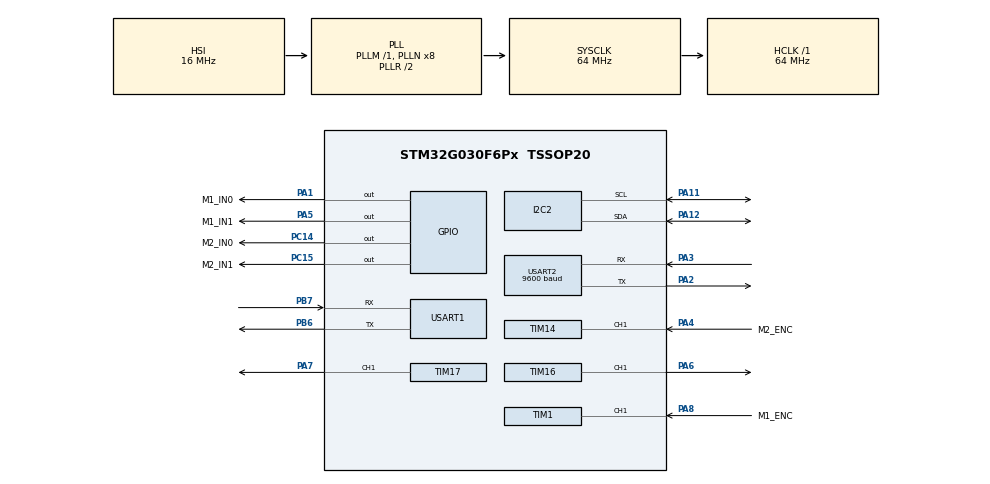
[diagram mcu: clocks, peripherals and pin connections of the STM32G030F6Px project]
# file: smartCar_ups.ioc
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Dma.Request0=USART1_RX
Dma.USART1_RX.0.Direction=DMA_PERIPH_TO_MEMORY
Dma.USART1_RX.0.EventEnable=DISABLE
Dma.USART1_RX.0.Instance=DMA1_Channel1
Dma.USART1_RX.0.MemDataAlignment=DMA_MDATAALIGN_BYTE
Dma.USART1_RX.0.MemInc=DMA_MINC_ENABLE
Dma.USART1_RX.0.Mode=DMA_NORMAL
Dma.USART1_RX.0.PeriphDataAlignment=DMA_PDATAALIGN_BYTE
Dma.USART1_RX.0.PeriphInc=DMA_PINC_DISABLE
Dma.USART1_RX.0.Polarity=HAL_DMAMUX_REQ_GEN_RISING
Dma.USART1_RX.0.Priority=DMA_PRIORITY_LOW
Dma.USART1_RX.0.RequestNumber=1
Dma.USART1_RX.0.SignalID=NONE
Dma.USART1_RX.0.SyncEnable=DISABLE
Dma.USART1_RX.0.SyncPolarity=HAL_DMAMUX_SYNC_NO_EVENT
Dma.USART1_RX.0.SyncRequestNumber=1
Dma.USART1_RX.0.SyncSignalID=NONE
I2C2.Timing=0x10707DBC
Mcu.Family=STM32G0
Mcu.Name=STM32G030F6Px
Mcu.Package=TSSOP20
NVIC.DMA1_Channel1_IRQn=true\:0\:0\:false\:false\:true\:false\:true
NVIC.TIM14_IRQn=true\:1\:0\:true\:false\:true\:true\:true
NVIC.TIM1_CC_IRQn=true\:1\:0\:true\:false\:true\:true\:true
NVIC.TIM3_IRQn=true\:1\:0\:true\:false\:true\:true\:true
NVIC.USART1_IRQn=true\:0\:0\:false\:false\:true\:true\:true
NVIC.USART2_IRQn=true\:0\:0\:false\:false\:true\:true\:true
PA1.GPIO_Label=M1_IN0
PA1.Signal=GPIO_Output
PA11\ [PA9].Mode=I2C
PA11\ [PA9].Signal=I2C2_SCL
PA12\ [PA10].Mode=I2C
PA12\ [PA10].Signal=I2C2_SDA
PA13.Mode=Serial_Wire
PA13.Signal=SYS_SWDIO
PA14-BOOT0.Mode=Serial_Wire
PA14-BOOT0.Signal=SYS_SWCLK
PA2.Mode=Asynchronous
PA2.Signal=USART2_TX
PA3.Mode=Asynchronous
PA3.Signal=USART2_RX
PA4.GPIO_Label=M2_ENC
PA4.Signal=S_TIM14_CH1
PA5.GPIO_Label=M1_IN1
PA5.Signal=GPIO_Output
PA6.Signal=S_TIM16_CH1
PA7.Signal=S_TIM17_CH1
PA8.GPIO_Label=M1_ENC
PA8.Signal=S_TIM1_CH1
PB6.Mode=Asynchronous
PB6.Signal=USART1_TX
PB7.Mode=Asynchronous
PB7.Signal=USART1_RX
PC14-OSC32_IN\ (PC14).GPIO_Label=M2_IN0
PC14-OSC32_IN\ (PC14).Signal=GPIO_Output
PC15-OSC32_OUT\ (PC15).GPIO_Label=M2_IN1
PC15-OSC32_OUT\ (PC15).Signal=GPIO_Output
ProjectManager.HeapSize=0x200
ProjectManager.StackSize=0x400
ProjectManager.TargetToolchain=MDK-ARM V5.27
RCC.ADCFreq_Value=64000000
RCC.AHBFreq_Value=64000000
RCC.CortexFreq_Value=64000000
RCC.EXTERNAL_CLOCK_VALUE=12288000
RCC.HCLKFreq_Value=64000000
RCC.HSE_VALUE=8000000
RCC.HSI_VALUE=16000000
RCC.LSE_VALUE=32768
RCC.SYSCLKFreq_VALUE=64000000
RCC.SYSCLKSource=RCC_SYSCLKSOURCE_PLLCLK
RCC.VCOOutputFreq_Value=128000000
SH.S_TIM14_CH1.0=TIM14_CH1,Input_Capture1_from_TI1
SH.S_TIM16_CH1.0=TIM16_CH1,PWM Generation1 CH1
SH.S_TIM17_CH1.0=TIM17_CH1,PWM Generation1 CH1
SH.S_TIM1_CH1.0=TIM1_CH1,Input_Capture1_from_TI1
TIM1.AutoReloadPreload=TIM_AUTORELOAD_PRELOAD_DISABLE
TIM1.Channel-Input_Capture1_from_TI1=TIM_CHANNEL_1
TIM1.Period=0
TIM1.Prescaler=0
TIM14.AutoReloadPreload=TIM_AUTORELOAD_PRELOAD_ENABLE
TIM14.Channel=TIM_CHANNEL_1
TIM14.Period=0
TIM14.Prescaler=0
TIM16.Channel=TIM_CHANNEL_1
TIM16.Period=1000-1
TIM16.Prescaler=64-1
TIM17.Channel=TIM_CHANNEL_1
TIM17.Period=1000-1
TIM17.Prescaler=64-1
TIM3.AutoReloadPreload=TIM_AUTORELOAD_PRELOAD_DISABLE
TIM3.Period=10-1
TIM3.Prescaler=6400-1
USART1.VirtualMode-Asynchronous=VM_ASYNC
USART2.BaudRate=9600
USART2.VirtualMode-Asynchronous=VM_ASYNC
VP_TIM14_VS_ClockSourceINT.Mode=Enable_Timer
VP_TIM16_VS_ClockSourceINT.Mode=Enable_Timer
VP_TIM17_VS_ClockSourceINT.Mode=Enable_Timer
VP_TIM3_VS_ClockSourceINT.Mode=Internal
board=custom

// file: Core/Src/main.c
/* USER CODE BEGIN Header */
/**
 ******************************************************************************
 * @file           : main.c
 * @brief          : Main program body
 ******************************************************************************
 * @attention
 *
 * <h2><center>&copy; Copyright (c) 2022 STMicroelectronics.
 * All rights reserved.</center></h2>
 *
 * This software component is licensed by ST under BSD 3-Clause license,
 * the "License"; You may not use this file except in compliance with the
 * License. You may obtain a copy of the License at:
 *                        opensource.org/licenses/BSD-3-Clause
 *
 ******************************************************************************
 */
/* USER CODE END Header */

#include "main.h"
#include "dma.h"
#include "i2c.h"
#include "tim.h"
#include "usart.h"
#include "gpio.h"

/* USER CODE BEGIN Includes */
#include <string.h>
#include "hal_bsp_ina219.h"
#include "system_cfg.h"
#include "app_motor.h"

/* USER CODE END Includes */

/* USER CODE BEGIN PV */
ts_UsartType Usart1Type;  // 串口1接收不定长的数据
ts_SystemValue_t systemValue = {.car_status = CAR_STATUS_OFF,};
uint8_t distance_buff[4] = {0};

/* USER CODE END PV */

void SystemClock_Config(void);

/* USER CODE BEGIN 0 */
/**
 * @brief  系统运行指示灯初始化
 * @note   PA0引脚
 * @retval None
 */
void System_LED_Init(void)
{
	GPIO_InitTypeDef GPIO_InitStruct = {0};

	__HAL_RCC_GPIOA_CLK_ENABLE();

	/*Configure GPIO pins : PA0 */
  GPIO_InitStruct.Pin = GPIO_PIN_0;
  GPIO_InitStruct.Mode = GPIO_MODE_OUTPUT_PP;
  GPIO_InitStruct.Pull = GPIO_NOPULL;
  GPIO_InitStruct.Speed = GPIO_SPEED_FREQ_LOW;
  HAL_GPIO_Init(GPIOA, &GPIO_InitStruct);
}

/* USER CODE END 0 */

int main(void)
{
  /* USER CODE BEGIN 1 */
	uint8_t distance_send_data = 0xFF;

  /* USER CODE END 1 */

  /* MCU Configuration--------------------------------------------------------*/

  /* Reset of all peripherals, Initializes the Flash interface and the Systick. */
  HAL_Init();

  /* Configure the system clock */
  SystemClock_Config();

  /* Initialize all configured peripherals */
  MX_GPIO_Init();
  MX_DMA_Init();
  MX_USART2_UART_Init();
  MX_I2C2_Init();
  MX_TIM1_Init();
  MX_TIM3_Init();
  MX_TIM14_Init();
  MX_USART1_UART_Init();
  MX_TIM16_Init();
  MX_TIM17_Init();
  /* USER CODE BEGIN 2 */
  console_log_info("-------------start UPS Test-------------");

  /* 初始化编码定时器 */
  motor_encoder_init();

  /* 系统状态指示灯初始化 */
	System_LED_Init();

  /* 电源检测芯片初始化 */
  INA219_Init();

  /* 开启定时器3中断 */
  HAL_TIM_Base_Start_IT(&htim3);

	/* 开启串口2的接收中断 */
	HAL_UART_Receive_IT(&huart2, distance_buff, sizeof(distance_buff));

  /* 开启串口1的空闲中断 */
  __HAL_UART_ENABLE_IT(&huart1, UART_IT_IDLE); // 开启串口2的空闲中断
  __HAL_UART_CLEAR_IDLEFLAG(&huart1);
  HAL_UART_Receive_DMA(&huart1, Usart1Type.UsartDMARecBuffer, USART_DMA_REC_SIE);

  /* USER CODE END 2 */

  /* Infinite loop */
  /* USER CODE BEGIN WHILE */
  while (1)
  {
    // 串口1 接收不定长数据, 并进行解析数据
    if(Usart1Type.UsartRecFlag)
		{
			// 解析JSON数据
			console_log_info("UsartRecBuffer: %s", Usart1Type.UsartRecBuffer);
      parse_json_data(Usart1Type.UsartRecBuffer, Usart1Type.UsartRecLen);

      Usart1Type.UsartRecFlag = 0;
			Usart1Type.UsartRecLen = 0;
			memset(Usart1Type.UsartRecBuffer, 0, sizeof(Usart1Type.UsartRecBuffer));
		}

    // 采集数据
    if(!(HAL_GetTick() % 100))
    {
			// 采集超声波传感器的值，必须大于70ms
			HAL_UART_Transmit(&huart2, (uint8_t *)&distance_send_data, 1, 100);

      systemValue.battery = INA219_get_bus_voltage_mv();
			// 打包JSON数据
      packet_json_data(&systemValue);

    }

		// 系统运行指示灯
		if(!(HAL_GetTick() % 200))
		{
			HAL_GPIO_TogglePin(GPIOA, GPIO_PIN_0);
		}
    /* USER CODE END WHILE */

  }
}

void SystemClock_Config(void)
{
  RCC_OscInitTypeDef RCC_OscInitStruct = {0};
  RCC_ClkInitTypeDef RCC_ClkInitStruct = {0};
  RCC_PeriphCLKInitTypeDef PeriphClkInit = {0};

  /** Configure the main internal regulator output voltage
  */
  HAL_PWREx_ControlVoltageScaling(PWR_REGULATOR_VOLTAGE_SCALE1);
  /** Initializes the CPU, AHB and APB busses clocks
  */
  RCC_OscInitStruct.OscillatorType = RCC_OSCILLATORTYPE_HSI;
  RCC_OscInitStruct.HSIState = RCC_HSI_ON;
  RCC_OscInitStruct.HSIDiv = RCC_HSI_DIV1;
  RCC_OscInitStruct.HSICalibrationValue = RCC_HSICALIBRATION_DEFAULT;
  RCC_OscInitStruct.PLL.PLLState = RCC_PLL_ON;
  RCC_OscInitStruct.PLL.PLLSource = RCC_PLLSOURCE_HSI;
  RCC_OscInitStruct.PLL.PLLM = RCC_PLLM_DIV1;
  RCC_OscInitStruct.PLL.PLLN = 8;
  RCC_OscInitStruct.PLL.PLLP = RCC_PLLP_DIV2;
  RCC_OscInitStruct.PLL.PLLR = RCC_PLLR_DIV2;
  if (HAL_RCC_OscConfig(&RCC_OscInitStruct) != HAL_OK)
  {
    Error_Handler();
  }
  /** Initializes the CPU, AHB and APB busses clocks
  */
  RCC_ClkInitStruct.ClockType = RCC_CLOCKTYPE_HCLK|RCC_CLOCKTYPE_SYSCLK
                              |RCC_CLOCKTYPE_PCLK1;
  RCC_ClkInitStruct.SYSCLKSource = RCC_SYSCLKSOURCE_PLLCLK;
  RCC_ClkInitStruct.AHBCLKDivider = RCC_SYSCLK_DIV1;
  RCC_ClkInitStruct.APB1CLKDivider = RCC_HCLK_DIV1;

  if (HAL_RCC_ClockConfig(&RCC_ClkInitStruct, FLASH_LATENCY_2) != HAL_OK)
  {
    Error_Handler();
  }
  /** Initializes the peripherals clocks
  */
  PeriphClkInit.PeriphClockSelection = RCC_PERIPHCLK_USART1;
  PeriphClkInit.Usart1ClockSelection = RCC_USART1CLKSOURCE_PCLK1;
  if (HAL_RCCEx_PeriphCLKConfig(&PeriphClkInit) != HAL_OK)
  {
    Error_Handler();
  }
}

/* USER CODE BEGIN 4 */

int fputc(int ch, FILE *f)
{
  HAL_UART_Transmit(&huart1, (uint8_t *)&ch, 1, 10);
  return ch;
}

/* USER CODE END 4 */

void Error_Handler(void)
{
}

/************************ (C) COPYRIGHT STMicroelectronics *****END OF FILE****/
